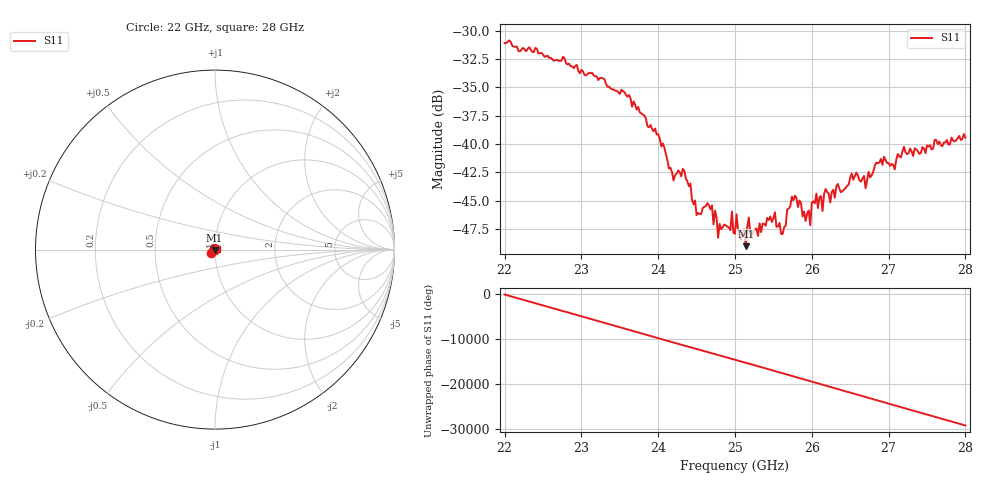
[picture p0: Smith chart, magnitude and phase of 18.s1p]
#  HZ  S  RI  R  50.00
! Rohde & Schwarz ZVA40 4Ports - Version 3.90 - 1145.1110k42 SN: 100403
! Date: 2023-10-04 08:35:30
! Measurement: S12
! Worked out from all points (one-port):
!   301 points, 22 GHz to 28 GHz, reference 50 ohm
!   lowest |S11| = -49.0 dB at 25.14 GHz (marker M1), VSWR 1.01, Z = 49.8 - j0.268 ohm
!   |S11| at or under -10 dB: start of sweep to end of sweep
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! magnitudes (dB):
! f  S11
! 22 GHz  -31.1
! 22.76 GHz  -32.3
! 23.5 GHz  -35.6
! 23.96 GHz  -38.6
! 24.2 GHz  -43.2
! 24.26 GHz  -42.3
! 24.42 GHz  -43.5
! 24.5 GHz  -46.3
! 24.7 GHz  -45.4
! 24.78 GHz  -48.3
! 24.96 GHz  -46.0
! 25 GHz  -47.9
! 25.02 GHz  -46.2
! 25.14 GHz  -49.0
! 25.18 GHz  -46.5
! 25.3 GHz  -48.1
! 25.52 GHz  -46.0
! 25.62 GHz  -47.9
! 25.76 GHz  -45.0
! 25.98 GHz  -47.2
! 26.06 GHz  -44.4
! 26.14 GHz  -45.9
! 26.18 GHz  -44.0
! 26.5 GHz  -43.0
! 26.7 GHz  -43.9
! 26.84 GHz  -41.7
! 27.26 GHz  -40.8
! 28 GHz  -39.5
